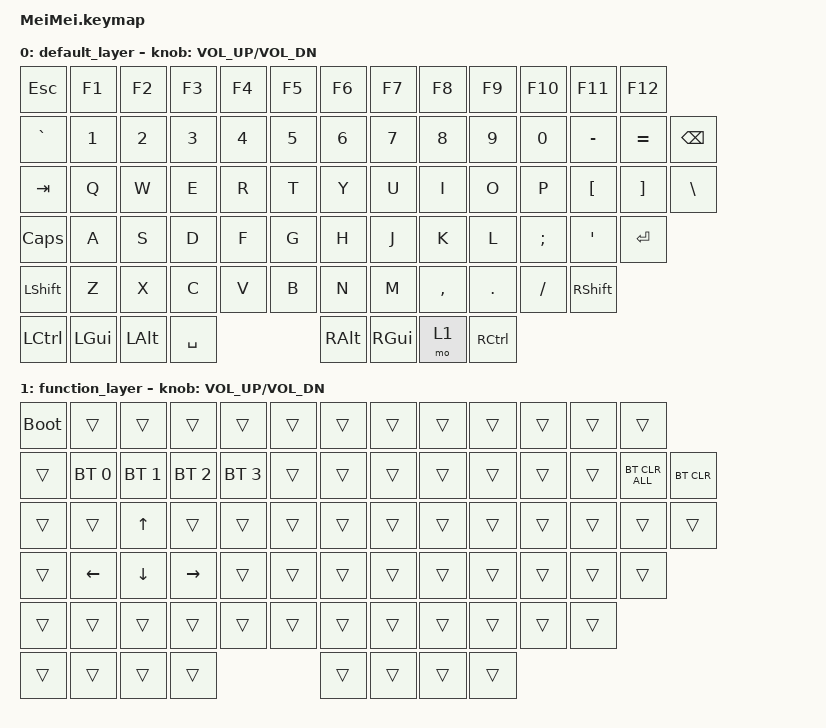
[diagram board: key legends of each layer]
#include <behaviors.dtsi>
#include <dt-bindings/zmk/keys.h>
#include <dt-bindings/zmk/bt.h>

/ {
    keymap {
        compatible = "zmk,keymap";

        default_layer { // Layer 0
            bindings = <
                &kp ESC   &kp F1    &kp F2    &kp F3    &kp F4    &kp F5   &kp F6    &kp F7    &kp F8    &kp F9    &kp F10   &kp F11   &kp F12
                &kp GRAVE &kp N1    &kp N2    &kp N3    &kp N4    &kp N5   &kp N6     &kp N7   &kp N8    &kp N9    &kp N0    &kp MINUS &kp EQUAL &kp BSPC
                &kp TAB   &kp Q     &kp W     &kp E     &kp R     &kp T    &kp Y     &kp U     &kp I     &kp O     &kp P     &kp LBKT &kp RBKT &kp BSLH
                &kp CAPS  &kp A     &kp S     &kp D     &kp F     &kp G    &kp H     &kp J     &kp K     &kp L     &kp SEMI &kp SQT &kp ENTER
                &kp LSHFT &kp Z &kp X    &kp C     &kp V     &kp B    &kp N     &kp M     &kp COMMA  &kp DOT  &kp SLASH  &kp RSHFT
                &kp LCTRL &kp LGUI  &kp LALT  &kp SPACE                     &kp RALT &kp RGUI &mo 1 &kp RCTRL
            >;
            sensor-bindings = <&inc_dec_kp C_VOL_UP C_VOL_DN>;

        };

        function_layer { // Layer 1
            bindings = <
                &bootloader   &trans   &trans   &trans   &trans   &trans   &trans    &trans   &trans    &trans   &trans   &trans   &trans
                &trans   &bt BT_SEL 0   &bt BT_SEL 1   &bt BT_SEL 2   &bt BT_SEL 3   &trans   &trans    &trans   &trans   &trans   &trans   &trans   &bt BT_CLR_ALL   &bt BT_CLR
                &trans   &trans   &kp UP   &trans   &trans   &trans   &trans    &trans   &trans   &trans   &trans   &trans   &trans   &trans
                &trans   &kp LEFT &kp DOWN &kp RIGHT   &trans   &trans   &trans    &trans   &trans   &trans   &trans   &trans   &trans
                &trans   &trans   &trans   &trans   &trans   &trans   &trans    &trans   &trans   &trans   &trans   &trans
                &trans   &trans   &trans   &trans                                        &trans   &trans   &trans    &trans
            >;
            sensor-bindings = <&inc_dec_kp C_VOL_UP C_VOL_DN>;

        };
    };
 };



